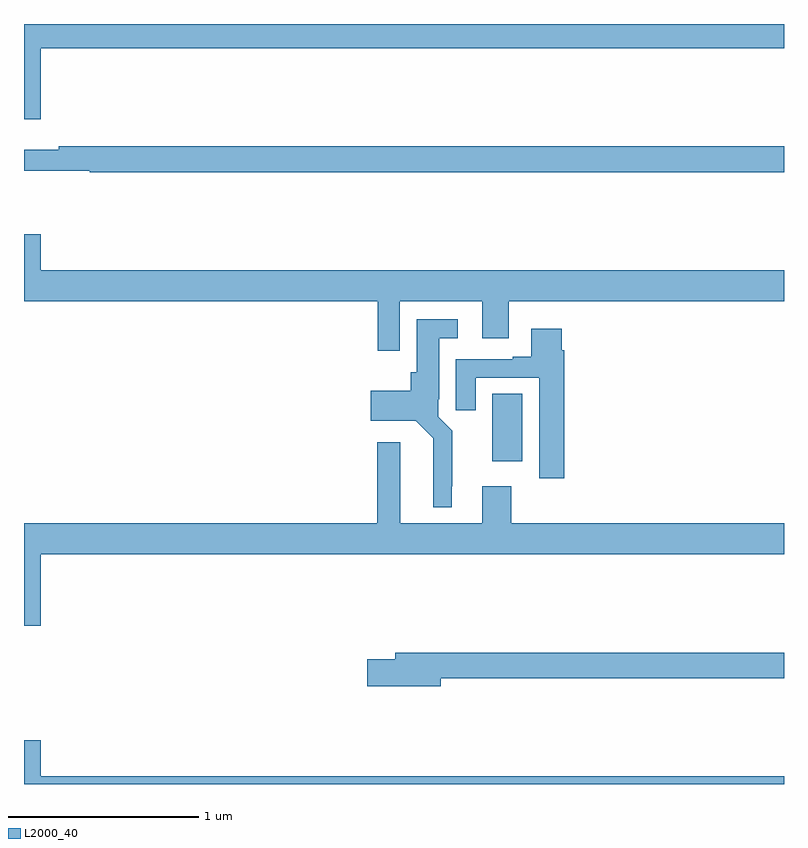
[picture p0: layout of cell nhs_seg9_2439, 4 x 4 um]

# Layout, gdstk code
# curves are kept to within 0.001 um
import gdstk
lib = gdstk.Library(unit=1e-6, precision=1e-09)
def R(c, l, rs):  # rectangles x0, y0, x1, y1
    for r in rs: c.add(gdstk.rectangle(r[:2], r[2:], *l))
def P(c, l, *ps):  # polygons
    for p in ps: c.add(gdstk.Polygon(p, *l))
L2000_40 = (2000, 40)

nhs_seg9_2439 = lib.new_cell('nhs_seg9_2439')
R(nhs_seg9_2439, L2000_40, [(251.465,1242.198,251.623,1242.554)])
P(nhs_seg9_2439, L2000_40, [(249.088,1244.372),(253,1244.372),(253,1244.5),(249,1244.5),(249,1243.998),(249.088,1243.998)],
  [(253,1243.856),(249.184,1243.856),(249.184,1243.837),(249,1243.837),(249,1243.728),(249.345,1243.728),(249.345,1243.72),(253,1243.72)],
  [(250.977,1243.04),(251.411,1243.04),(251.411,1242.846),(251.551,1242.846),(251.551,1243.04),(253,1243.04),(253,1243.204),(249.088,1243.204),(249.088,1243.393),(249,1243.393),(249,1243.04),(250.861,1243.04),(250.861,1242.78),(250.977,1242.78)],
  [(251.251,1242.067),(251.254,1242.067),(251.254,1242.359),(251.181,1242.432),(251.181,1242.526),(251.185,1242.526),(251.185,1242.845),(251.284,1242.845),(251.284,1242.946),(251.066,1242.946),(251.066,1242.666),(251.036,1242.666),(251.036,1242.571),(250.824,1242.571),(250.824,1242.413),(251.061,1242.413),(251.154,1242.32),(251.153,1241.957),(251.251,1241.957)],
  [(251.843,1242.782),(251.83,1242.782),(251.83,1242.895),(251.669,1242.895),(251.669,1242.748),(251.573,1242.748),(251.573,1242.735),(251.273,1242.735),(251.273,1242.468),(251.377,1242.468),(251.377,1242.639),(251.711,1242.639),(251.711,1242.108),(251.843,1242.108)],
  [(249.088,1241.708),(253,1241.708),(253,1241.872),(251.564,1241.872),(251.564,1242.067),(251.411,1242.067),(251.411,1241.872),(250.981,1241.872),(250.981,1242.298),(250.859,1242.298),(250.859,1241.872),(249,1241.872),(249,1241.334),(249.088,1241.334)],
  [(251.194,1241.056),(253,1241.056),(253,1241.192),(250.955,1241.192),(250.955,1241.156),(250.806,1241.156),(250.806,1241.014),(251.194,1241.014)],
  [(253,1240.54),(249.088,1240.54),(249.088,1240.729),(249,1240.729),(249,1240.5),(253,1240.5)])

lib.write_gds('nhs_seg9_2439.gds')
